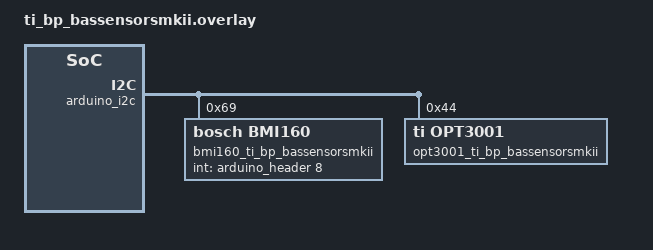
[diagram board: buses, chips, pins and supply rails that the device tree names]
/*
 * Copyright (c) 2023 Intel Corporation
 *
 * SPDX-License-Identifier: Apache-2.0
 */

#include <zephyr/dt-bindings/sensor/channel.h>
#include <zephyr/dt-bindings/sensor/field.h>

/ {
	aliases {
		accel0 = &bmi160_ti_bp_bassensorsmkii;
		gyro0 = &bmi160_ti_bp_bassensorsmkii;
		optical0 = &opt3001_ti_bp_bassensorsmkii;
	};
};

&arduino_i2c {
	bmi160_ti_bp_bassensorsmkii: bmi160@69 {
        compatible = "bosch,bmi160";
		reg = <0x69>;
		int-gpios = <&arduino_header 8 GPIO_ACTIVE_HIGH>;

        #include <sensor/bosch/bosch_bmi160.dtsi>
	};

	opt3001_ti_bp_bassensorsmkii: opt3001@44 {
		compatible = "ti,opt3001";
		reg = <0x44>;
	};
};
